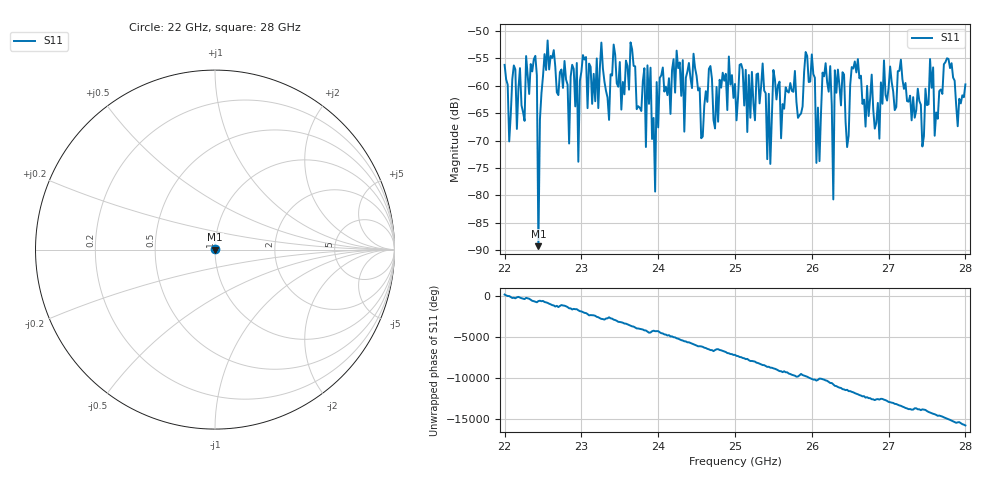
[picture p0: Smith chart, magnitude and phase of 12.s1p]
#  HZ  S  RI  R  50.00
! Rohde & Schwarz ZVA40 4Ports - Version 3.90 - 1145.1110k42 SN: 100403
! Date: 2023-10-04 11:42:59
! Measurement: S12
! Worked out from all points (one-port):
!   301 points, 22 GHz to 28 GHz, reference 50 ohm
!   lowest |S11| = -89.2 dB at 22.44 GHz (marker M1), VSWR 1.00, Z = 50 + j0.00335 ohm
!   |S11| at or under -10 dB: start of sweep to end of sweep
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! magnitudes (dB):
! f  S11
! 22 GHz  -56.2
! 22.06 GHz  -70.2
! 22.4 GHz  -54.6
! 22.44 GHz  -89.2
! 22.56 GHz  -51.8
! 22.76 GHz  -60.4
! 22.94 GHz  -55.9
! 22.96 GHz  -73.9
! 23.02 GHz  -54.4
! 23.5 GHz  -55.7
! 23.84 GHz  -71.2
! 23.9 GHz  -56.7
! 23.96 GHz  -79.3
! 23.98 GHz  -59.3
! 24.26 GHz  -56.8
! 25 GHz  -59.7
! 25.36 GHz  -55.9
! 25.46 GHz  -74.3
! 25.5 GHz  -57.1
! 25.76 GHz  -61.1
! 26 GHz  -54.3
! 26.1 GHz  -73.8
! 26.24 GHz  -56.4
! 26.28 GHz  -80.7
! 26.3 GHz  -57.2
! 26.5 GHz  -59.9
! 27.26 GHz  -62.9
! 28 GHz  -59.8
